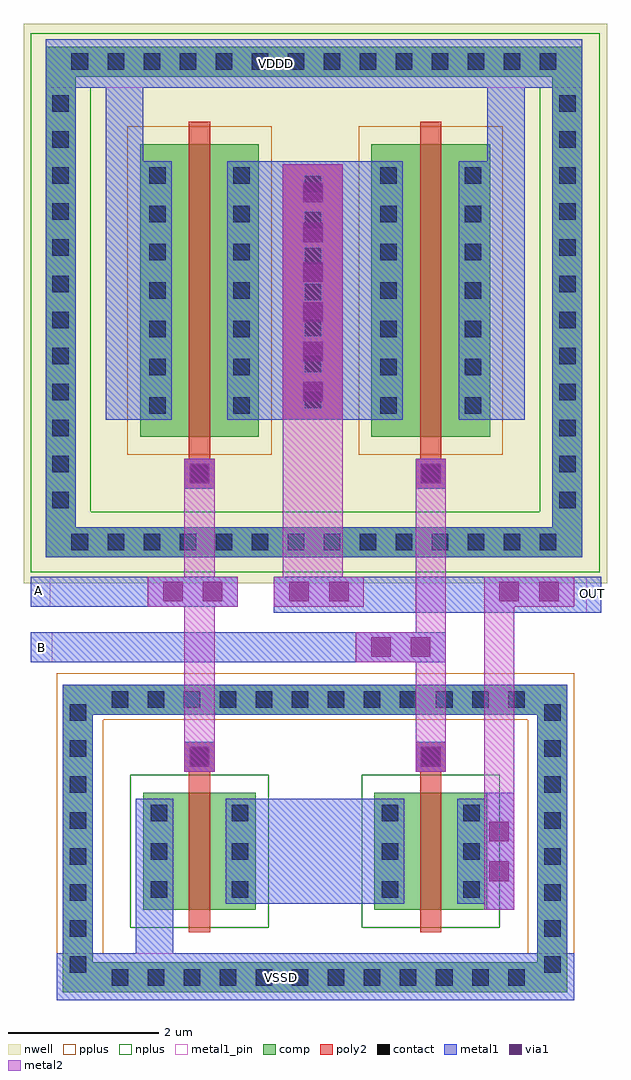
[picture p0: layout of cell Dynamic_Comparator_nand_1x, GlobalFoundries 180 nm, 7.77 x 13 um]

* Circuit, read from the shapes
.subckt Dynamic_Comparator_nand_1x A B OUT VDDD VSSD
XM1 n1 A VSSD VSSD nfet_03v3 w=1.56u l=0.28u
XM2 OUT B n1 VSSD nfet_03v3 w=1.56u l=0.28u
XM3 OUT A VDDD VDDD pfet_03v3 w=3.9u l=0.28u
XM4 VDDD B OUT VDDD pfet_03v3 w=3.9u l=0.28u
.ends

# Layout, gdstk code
import gdstk
lib = gdstk.Library(unit=1e-6, precision=1e-09)
def R(c, l, rs):  # rectangles x0, y0, x1, y1
    for r in rs: c.add(gdstk.rectangle(r[:2], r[2:], *l))
def A(c, l, x, y, w, h, nx, ny, dx, dy):  # array of equal rectangles
    R(c, l, [(x+i*dx, y+j*dy, x+i*dx+w, y+j*dy+h) for i in range(nx) for j in range(ny)])
nwell = (21, 0)
comp = (22, 0)
poly2 = (30, 0)
pplus = (31, 0)
nplus = (32, 0)
contact = (33, 0)
metal1 = (34, 0)
metal1_pin = (34, 10)
via1 = (35, 0)
metal2 = (36, 0)

pfet = lib.new_cell('pfet')
R(pfet, nwell, [(-0.9,-0.44,1.56,4.34)])
R(pfet, comp, [(-0.46,0,0,3.9), (0,0,0.66,3.9), (0.66,0,1.12,3.9)])
R(pfet, poly2, [(0.19,-0.3,0.47,4.2), (0.14,4.2,0.52,4.58)])
R(pfet, pplus, [(-0.63,-0.24,1.29,4.14)])
A(pfet, contact, -0.34, 0.31, 0.22, 0.22, 1, 7, 0, 0.51)
A(pfet, contact, 0.78, 0.31, 0.22, 0.22, 1, 7, 0, 0.51)
R(pfet, contact, [(0.22,4.28,0.44,4.5)])
R(pfet, metal1, [(-0.42,0.23,-0.04,3.67), (0.7,0.23,1.08,3.67), (0.14,4.199,0.52,4.581)])

via_dev = lib.new_cell('via_dev')
R(via_dev, poly2, [(0,0,0.4,0.4)])
R(via_dev, contact, [(0.09,0.09,0.31,0.31)])
R(via_dev, metal1, [(0,0,0.4,0.4)])
R(via_dev, via1, [(0.07,0.07,0.33,0.33)])
R(via_dev, metal2, [(0,0,0.4,0.4)])

via_dev_3 = lib.new_cell('via_dev$3')
R(via_dev_3, metal1, [(0,0,1.2,0.4)])
R(via_dev_3, via1, [(0.205,0.07,0.465,0.33), (0.735,0.07,0.995,0.33)])
R(via_dev_3, metal2, [(0,0,1.2,0.4)])

nfet = lib.new_cell('nfet')
R(nfet, comp, [(-0.42,0,0,1.56), (0,0,0.66,1.56), (0.66,0,1.08,1.56)])
R(nfet, poly2, [(0.19,-0.3,0.47,1.86), (0.15,1.86,0.51,2.22)])
R(nfet, nplus, [(-0.59,-0.24,1.25,1.8)])
A(nfet, contact, -0.32, 0.16, 0.22, 0.22, 1, 3, 0, 0.51)
A(nfet, contact, 0.76, 0.16, 0.22, 0.22, 1, 3, 0, 0.51)
R(nfet, contact, [(0.22,1.93,0.44,2.15)])
R(nfet, metal1, [(-0.4,0.08,-0.02,1.48), (0.68,0.08,1.06,1.48), (0.14,1.849,0.52,2.231)])

via_dev_2 = lib.new_cell('via_dev$2')
R(via_dev_2, comp, [(0,0,0.4,6)])
A(via_dev_2, contact, 0.09, 0.25, 0.22, 0.22, 1, 12, 0, 0.48)
R(via_dev_2, metal1, [(0,0,0.4,6)])

via_dev_4 = lib.new_cell('via_dev$4')
R(via_dev_4, comp, [(0,0,7.15,0.4)])
A(via_dev_4, contact, 0.345, 0.09, 0.22, 0.22, 14, 1, 0.48, 0)
R(via_dev_4, metal1, [(0,0,7.15,0.4)])

via_dev_5 = lib.new_cell('via_dev$5')
R(via_dev_5, comp, [(0,0,6,0.4)])
A(via_dev_5, contact, 0.25, 0.09, 0.22, 0.22, 12, 1, 0.48, 0)
R(via_dev_5, metal1, [(0,0,6,0.4)])

via_dev_6 = lib.new_cell('via_dev$6')
R(via_dev_6, comp, [(0,0,0.4,4.1)])
A(via_dev_6, contact, 0.09, 0.26, 0.22, 0.22, 1, 8, 0, 0.48)
R(via_dev_6, metal1, [(0,0,0.4,4.1)])

via_dev_9 = lib.new_cell('via_dev$9')
R(via_dev_9, poly2, [(0,0,0.8,3.4)])
A(via_dev_9, contact, 0.29, 0.15, 0.22, 0.22, 1, 7, 0, 0.48)
R(via_dev_9, metal1, [(0,0,0.8,3.4)])
A(via_dev_9, via1, 0.27, 0.245, 0.26, 0.26, 1, 6, 0, 0.53)
R(via_dev_9, metal2, [(0,0,0.8,3.4)])

via_dev_7 = lib.new_cell('via_dev$7')
R(via_dev_7, metal1, [(0,0,0.4,1.56)])
R(via_dev_7, via1, [(0.07,0.385,0.33,0.645), (0.07,0.915,0.33,1.175)])
R(via_dev_7, metal2, [(0,0,0.4,1.56)])

dynamic_comparator_nand_ = lib.new_cell('Dynamic_Comparator_nand_1x')
R(dynamic_comparator_nand_, nwell, [(-1.89,-1.15,5.88,6.3)])
R(dynamic_comparator_nand_, pplus, [(-1.45,-6.7,-0.83,-2.35), (-1.45,-6.7,4.9,-6.08), (4.82,-6.7,5.44,-2.35), (-1.45,-2.97,4.9,-2.35)])
R(dynamic_comparator_nand_, nplus, [(-1.8,-1,5.78,-0.2), (-1.8,-0.85,-1,6.05), (4.98,-0.85,5.78,6.1), (-1.8,5.45,5.78,6.18)])
R(dynamic_comparator_nand_, metal1, [(-1.45,-6.7,5.44,-6.08), (-0.4,-6.29,0.1,-4.02), (1.17,-5.42,2.84,-4.02), (-1.8,-2.2,2.93,-1.8), (1.44,-1.54,5.8,-1.06), (-1.8,-1.46,-0.24,-1.06), (-0.8,1.03,-0.3,5.98), (1.2,1.03,2.78,4.47), (4.28,1.03,4.78,5.98), (-1.6,5.45,5.55,6.1)])
R(dynamic_comparator_nand_, metal1_pin, [(-1.45,-6.7,5.44,-6.08), (-1.8,-2.2,-1.51,-1.8), (5.6,-1.54,5.8,-1.06), (-1.8,-1.46,-1.54,-1.06), (-1.6,5.45,5.55,6.1)])
R(dynamic_comparator_nand_, metal2, [(4.24,-3.94,4.64,-1.06), (0.25,-3.26,0.65,0.18), (3.33,-3.26,3.73,0.29), (1.56,-1.06,2.36,1.03)])
dynamic_comparator_nand_.add(gdstk.Reference(pfet, (0.12,4.7), x_reflection=True))
dynamic_comparator_nand_.add(gdstk.Reference(via_dev, (3.33,-3.66)))
dynamic_comparator_nand_.add(gdstk.Reference(via_dev, (0.25,0.11)))
dynamic_comparator_nand_.add(gdstk.Reference(via_dev, (3.33,0.11)))
dynamic_comparator_nand_.add(gdstk.Reference(via_dev_3, (1.44,-1.46)))
dynamic_comparator_nand_.add(gdstk.Reference(nfet, (0.12,-5.5)))
dynamic_comparator_nand_.add(gdstk.Reference(via_dev_2, (-1.6,-0.4)))
dynamic_comparator_nand_.add(gdstk.Reference(via_dev_3, (2.53,-2.2)))
dynamic_comparator_nand_.add(gdstk.Reference(via_dev_4, (-1.6,5.6)))
dynamic_comparator_nand_.add(gdstk.Reference(nfet, (3.2,-5.5)))
dynamic_comparator_nand_.add(gdstk.Reference(via_dev_5, (-0.97,-2.9)))
dynamic_comparator_nand_.add(gdstk.Reference(via_dev_5, (-0.97,-6.6)))
dynamic_comparator_nand_.add(gdstk.Reference(via_dev_6, (-1.37,-6.6)))
dynamic_comparator_nand_.add(gdstk.Reference(via_dev_9, (1.56,1.03)))
dynamic_comparator_nand_.add(gdstk.Reference(via_dev, (0.25,-3.66)))
dynamic_comparator_nand_.add(gdstk.Reference(via_dev_3, (4.24,-1.46)))
dynamic_comparator_nand_.add(gdstk.Reference(pfet, (3.2,4.7), x_reflection=True))
dynamic_comparator_nand_.add(gdstk.Reference(via_dev_3, (-0.24,-1.46)))
dynamic_comparator_nand_.add(gdstk.Reference(via_dev_2, (5.15,-0.4)))
dynamic_comparator_nand_.add(gdstk.Reference(via_dev_4, (-1.6,-0.8)))
dynamic_comparator_nand_.add(gdstk.Reference(via_dev_6, (4.95,-6.6)))
dynamic_comparator_nand_.add(gdstk.Reference(via_dev_7, (4.24,-5.5)))
dynamic_comparator_nand_.add(gdstk.Label('VDDD', (1.47,5.78), layer=34, texttype=10))
dynamic_comparator_nand_.add(gdstk.Label('VSSD', (1.54,-6.4), layer=34, texttype=10))
dynamic_comparator_nand_.add(gdstk.Label('A', (-1.69,-1.25), layer=34, texttype=10))
dynamic_comparator_nand_.add(gdstk.Label('B', (-1.66,-2), layer=34, texttype=10))
dynamic_comparator_nand_.add(gdstk.Label('OUT', (5.69,-1.29), layer=34, texttype=10))

lib.write_gds('Dynamic_Comparator_nand_1x.gds')
